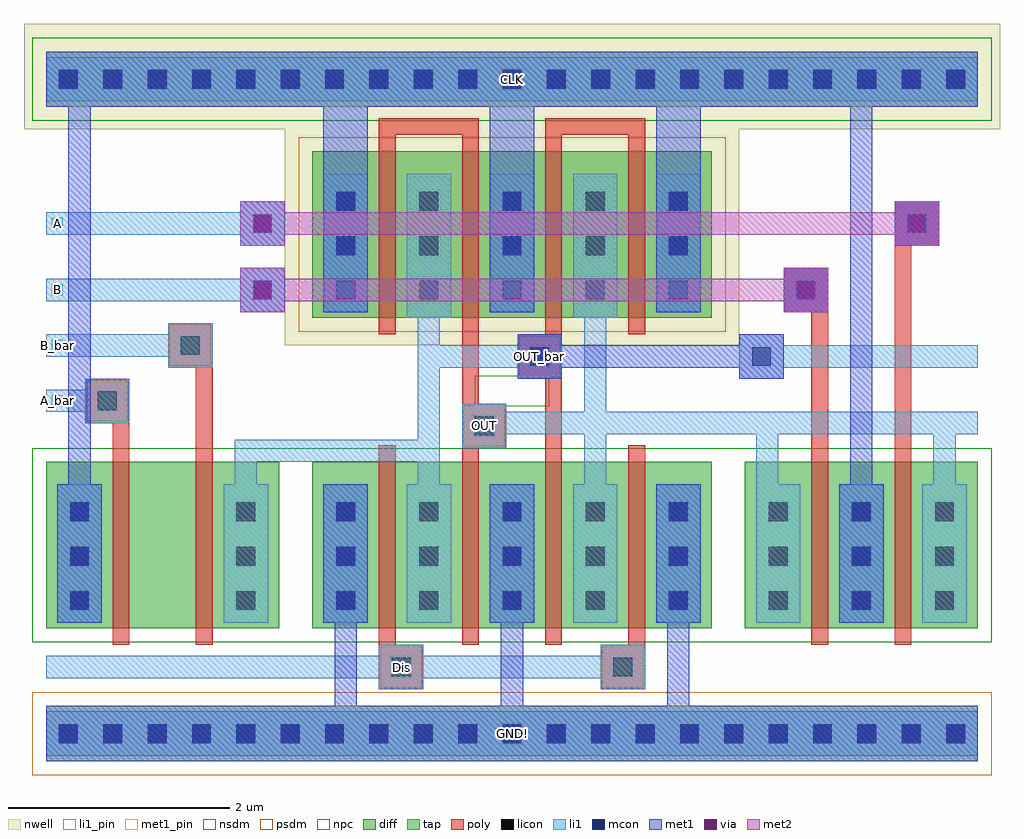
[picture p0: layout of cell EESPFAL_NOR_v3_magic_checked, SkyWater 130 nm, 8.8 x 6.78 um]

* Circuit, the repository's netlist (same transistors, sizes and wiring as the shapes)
* NGSPICE file created from EESPFAL_NOR_v3_magic_checked.ext - technology: sky130A

.subckt EESPFAL_NOR_v3_magic_checked OUT A A_bar B B_bar Dis OUT_bar GND CLK
X0 a_n1820_550# A_bar CLK GND sky130_fd_pr__nfet_01v8 ad=9e+11p pd=4.2e+06u as=6e+12p ps=2.62e+07u w=1.5e+06u l=150000u
X1 OUT_bar Dis GND GND sky130_fd_pr__nfet_01v8 ad=1.8e+12p pd=8.4e+06u as=2.7e+12p ps=1.26e+07u w=1.5e+06u l=150000u
X2 OUT OUT_bar CLK CLK sky130_fd_pr__pfet_01v8 ad=9e+11p pd=4.2e+06u as=2.7e+12p ps=1.26e+07u w=1.5e+06u l=150000u M=2
X3 CLK OUT OUT_bar CLK sky130_fd_pr__pfet_01v8 ad=0p pd=0u as=9e+11p ps=4.2e+06u w=1.5e+06u l=150000u M=2
X4 OUT_bar B_bar a_n1820_550# GND sky130_fd_pr__nfet_01v8 ad=0p pd=0u as=0p ps=0u w=1.5e+06u l=150000u
X5 GND Dis OUT GND sky130_fd_pr__nfet_01v8 ad=0p pd=0u as=2.7e+12p ps=1.26e+07u w=1.5e+06u l=150000u
X6 OUT A CLK GND sky130_fd_pr__nfet_01v8 ad=0p pd=0u as=0p ps=0u w=1.5e+06u l=150000u
X7 GND OUT OUT_bar GND sky130_fd_pr__nfet_01v8 ad=0p pd=0u as=0p ps=0u w=1.5e+06u l=150000u
X8 OUT OUT_bar GND GND sky130_fd_pr__nfet_01v8 ad=0p pd=0u as=0p ps=0u w=1.5e+06u l=150000u
X9 CLK B OUT GND sky130_fd_pr__nfet_01v8 ad=0p pd=0u as=0p ps=0u w=1.5e+06u l=150000u
.ends

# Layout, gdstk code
import gdstk
lib = gdstk.Library(unit=1e-6, precision=1e-09)
def R(c, l, rs):  # rectangles x0, y0, x1, y1
    for r in rs: c.add(gdstk.rectangle(r[:2], r[2:], *l))
def A(c, l, x, y, w, h, nx, ny, dx, dy):  # array of equal rectangles
    R(c, l, [(x+i*dx, y+j*dy, x+i*dx+w, y+j*dy+h) for i in range(nx) for j in range(ny)])
nwell = (64, 20)
diff = (65, 20)
tap = (65, 44)
poly = (66, 20)
licon = (66, 44)
li1_pin = (67, 16)
li1 = (67, 20)
mcon = (67, 44)
met1_pin = (68, 16)
met1 = (68, 20)
via = (68, 44)
met2 = (69, 20)
nsdm = (93, 44)
psdm = (94, 20)
npc = (95, 20)

eespfal_nor_v3_magic_che = lib.new_cell('EESPFAL_NOR_v3_magic_checked')
R(eespfal_nor_v3_magic_che, nwell, [(-7.7,5.3,-3.6,7.25), (-10.05,7.25,-1.25,8.2)])
R(eespfal_nor_v3_magic_che, diff, [(-9.85,2.75,-7.75,4.25), (-7.45,2.75,-3.85,4.25), (-3.55,2.75,-1.45,4.25), (-7.45,5.55,-3.85,7.05)])
R(eespfal_nor_v3_magic_che, tap, [(-9.85,1.55,-1.45,2.05), (-9.85,7.45,-1.45,7.95)])
R(eespfal_nor_v3_magic_che, poly, [(-6.85,2.2,-6.45,2.6), (-4.85,2.2,-4.45,2.6), (-9.25,2.6,-9.1,4.6), (-8.5,2.6,-8.35,5.1), (-6.85,2.6,-6.7,4.4), (-6.1,2.6,-5.95,4.375), (-5.35,2.6,-5.2,5), (-4.6,2.6,-4.45,4.4), (-2.95,2.6,-2.8,5.6), (-2.2,2.6,-2.05,6.2), (-6.1,4.375,-5.7,4.775), (-9.5,4.6,-9.1,5), (-6.1,4.775,-5.95,7.2), (-5.6,5,-5.2,5.4), (-8.75,5.1,-8.35,5.5), (-6.85,5.4,-6.7,7.2), (-5.35,5.4,-5.2,7.2), (-4.6,5.4,-4.45,7.2), (-3.2,5.6,-2.8,6), (-2.2,6.2,-1.8,6.6), (-6.85,7.2,-5.95,7.35), (-5.35,7.2,-4.45,7.35)])
A(eespfal_nor_v3_magic_che, licon, -9.735, 1.715, 0.17, 0.17, 21, 2, 0.4, 5.9)
A(eespfal_nor_v3_magic_che, licon, -9.635, 2.915, 0.17, 0.17, 1, 3, 0, 0.4)
A(eespfal_nor_v3_magic_che, licon, -8.135, 2.915, 0.17, 0.17, 1, 3, 0, 0.4)
A(eespfal_nor_v3_magic_che, licon, -7.235, 2.915, 0.17, 0.17, 5, 3, 0.75, 0.4)
A(eespfal_nor_v3_magic_che, licon, -3.335, 2.915, 0.17, 0.17, 3, 3, 0.75, 0.4)
A(eespfal_nor_v3_magic_che, licon, -7.235, 5.715, 0.17, 0.17, 5, 3, 0.75, 0.4)
R(eespfal_nor_v3_magic_che, licon, [(-6.735,2.315,-6.565,2.485), (-4.735,2.315,-4.565,2.485), (-5.985,4.49,-5.815,4.66), (-9.385,4.715,-9.215,4.885), (-5.485,5.115,-5.315,5.285), (-8.635,5.215,-8.465,5.385), (-3.085,5.715,-2.915,5.885), (-2.085,6.315,-1.915,6.485)])
A(eespfal_nor_v3_magic_che, li1_pin, -9.8, 4.75, 0.1, 0.1, 1, 3, 0, 0.5)
R(eespfal_nor_v3_magic_che, li1_pin, [(-6.75,2.3,-6.55,2.5), (-6,4.475,-5.8,4.675), (-9.8,6.35,-9.7,6.45)])
A(eespfal_nor_v3_magic_che, li1, -7.35, 2.8, 0.4, 1.25, 5, 1, 0.75, 0)
A(eespfal_nor_v3_magic_che, li1, -3.45, 2.8, 0.4, 1.25, 3, 1, 0.75, 0)
A(eespfal_nor_v3_magic_che, li1, -8.1, 5.6, 0.4, 0.1, 1, 4, 0, 0.3)
A(eespfal_nor_v3_magic_che, li1, -7.35, 5.6, 0.4, 1.25, 3, 1, 1.5, 0)
R(eespfal_nor_v3_magic_che, li1, [(-9.85,1.6,-1.45,2), (-6.85,2.2,-6.45,2.3), (-4.85,2.2,-4.45,2.3), (-9.85,2.3,-4.45,2.5), (-6.85,2.5,-6.45,2.6), (-4.85,2.5,-4.45,2.6), (-9.75,2.8,-9.35,4.05), (-8.25,2.8,-7.85,4.05), (-8.15,4.05,-7.95,4.25), (-6.5,4.05,-6.3,4.25), (-5,4.05,-4.8,4.5), (-3.45,4.05,-3.25,4.5), (-1.85,4.05,-1.65,4.5), (-8.15,4.25,-6.3,4.45), (-6.1,4.375,-5.7,4.5), (-6.5,4.45,-6.3,5.1), (-6.1,4.5,-1.45,4.7), (-9.5,4.6,-9.1,4.7), (-9.85,4.7,-9.1,4.9), (-6.1,4.7,-5.7,4.775), (-5,4.7,-4.8,5.55), (-9.5,4.9,-9.1,5), (-5.6,5,-5.2,5.1), (-3.6,5,-3.2,5.1), (-8.75,5.1,-8.35,5.2), (-6.5,5.1,-5.2,5.3), (-3.6,5.1,-1.45,5.3), (-9.85,5.2,-8.35,5.4), (-6.5,5.3,-6.3,5.55), (-5.6,5.3,-5.2,5.4), (-3.6,5.3,-3.2,5.4), (-8.75,5.4,-8.35,5.5), (-6.6,5.55,-6.2,6.85), (-5.1,5.55,-4.7,6.85), (-3.2,5.6,-2.8,6), (-9.85,5.7,-7.7,5.9), (-2.2,6.2,-1.8,6.6), (-9.85,6.3,-7.7,6.5), (-9.85,7.5,-1.45,7.9)])
A(eespfal_nor_v3_magic_che, mcon, -9.735, 1.715, 0.17, 0.17, 21, 2, 0.4, 5.9)
A(eespfal_nor_v3_magic_che, mcon, -9.635, 2.915, 0.17, 0.17, 1, 3, 0, 0.4)
A(eespfal_nor_v3_magic_che, mcon, -7.235, 2.915, 0.17, 0.17, 3, 3, 1.5, 0.4)
A(eespfal_nor_v3_magic_che, mcon, -2.585, 2.915, 0.17, 0.17, 1, 3, 0, 0.4)
A(eespfal_nor_v3_magic_che, mcon, -7.235, 5.715, 0.17, 0.17, 3, 3, 1.5, 0.4)
R(eespfal_nor_v3_magic_che, mcon, [(-5.485,5.115,-5.315,5.285), (-3.485,5.115,-3.315,5.285), (-7.985,5.715,-7.815,5.885), (-3.085,5.715,-2.915,5.885), (-7.985,6.315,-7.815,6.485), (-2.085,6.315,-1.915,6.485)])
R(eespfal_nor_v3_magic_che, met1_pin, [(-5.75,1.7,-5.55,1.9), (-5.5,5.1,-5.3,5.3), (-5.75,7.6,-5.55,7.8)])
A(eespfal_nor_v3_magic_che, met1, -7.25, 2.05, 0.2, 0.75, 3, 1, 1.5, 0)
A(eespfal_nor_v3_magic_che, met1, -7.35, 2.8, 0.4, 1.25, 3, 1, 1.5, 0)
A(eespfal_nor_v3_magic_che, met1, -7.35, 5.6, 0.4, 1.85, 3, 1, 1.5, 0)
R(eespfal_nor_v3_magic_che, met1, [(-9.85,1.55,-1.45,2.05), (-9.75,2.8,-9.35,4.05), (-2.7,2.8,-2.3,4.05), (-9.65,4.05,-9.45,7.45), (-2.6,4.05,-2.4,7.45), (-5.6,5,-5.2,5.1), (-3.6,5,-3.2,5.1), (-5.6,5.1,-3.2,5.3), (-5.6,5.3,-5.2,5.4), (-3.6,5.3,-3.2,5.4), (-8.1,5.6,-7.7,6), (-3.2,5.6,-2.8,6), (-8.1,6.2,-7.7,6.6), (-2.2,6.2,-1.8,6.6), (-9.85,7.45,-1.45,7.95)])
R(eespfal_nor_v3_magic_che, via, [(-7.975,5.725,-7.825,5.875), (-3.075,5.725,-2.925,5.875), (-7.975,6.325,-7.825,6.475), (-2.075,6.325,-1.925,6.475)])
A(eespfal_nor_v3_magic_che, met2, -8.1, 5.6, 0.4, 0.1, 1, 4, 0, 0.3)
R(eespfal_nor_v3_magic_che, met2, [(-3.2,5.6,-2.8,5.7), (-8.1,5.7,-2.8,5.9), (-3.2,5.9,-2.8,6), (-2.2,6.2,-1.8,6.3), (-8.1,6.3,-1.8,6.5), (-2.2,6.5,-1.8,6.6)])
R(eespfal_nor_v3_magic_che, nsdm, [(-9.975,2.625,-1.325,4.375), (-9.975,7.325,-1.325,8.075)])
R(eespfal_nor_v3_magic_che, psdm, [(-9.975,1.425,-1.325,2.175), (-7.575,5.425,-3.725,7.175)])
R(eespfal_nor_v3_magic_che, npc, [(-6.835,2.215,-6.465,2.585), (-4.835,2.215,-4.465,2.585), (-6.085,4.39,-5.715,4.75), (-9.485,4.615,-9.115,4.985), (-6.085,4.75,-5.315,4.76), (-5.985,4.76,-5.315,5.015), (-5.985,5.015,-5.215,5.025), (-5.585,5.025,-5.215,5.385), (-8.735,5.115,-8.365,5.485), (-3.185,5.615,-2.815,5.985), (-2.185,6.215,-1.815,6.585)])
eespfal_nor_v3_magic_che.add(gdstk.Label('OUT', (-5.9,4.575), layer=67, texttype=16))
eespfal_nor_v3_magic_che.add(gdstk.Label('A', (-9.75,6.4), layer=67, texttype=16))
eespfal_nor_v3_magic_che.add(gdstk.Label('A_bar', (-9.75,4.8), layer=67, texttype=16))
eespfal_nor_v3_magic_che.add(gdstk.Label('B', (-9.75,5.8), layer=67, texttype=16))
eespfal_nor_v3_magic_che.add(gdstk.Label('B_bar', (-9.75,5.3), layer=67, texttype=16))
eespfal_nor_v3_magic_che.add(gdstk.Label('Dis', (-6.65,2.4), layer=67, texttype=16))
eespfal_nor_v3_magic_che.add(gdstk.Label('OUT_bar', (-5.4,5.2), layer=68, texttype=16))
eespfal_nor_v3_magic_che.add(gdstk.Label('GND!', (-5.65,1.8), layer=68, texttype=16))
eespfal_nor_v3_magic_che.add(gdstk.Label('CLK', (-5.65,7.7), layer=68, texttype=16))

lib.write_gds('EESPFAL_NOR_v3_magic_checked.gds')
